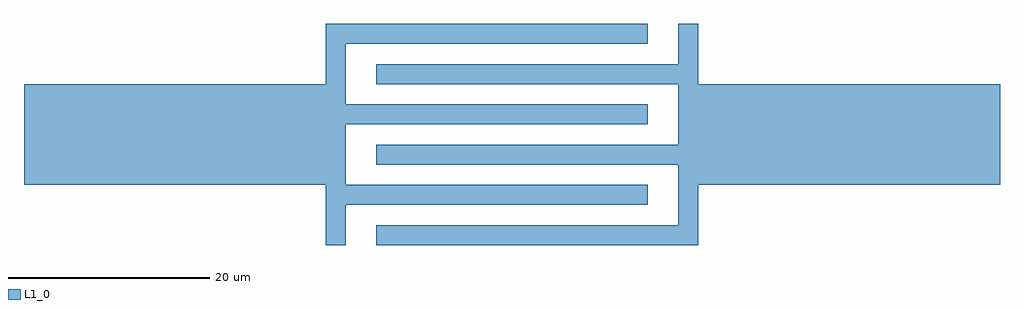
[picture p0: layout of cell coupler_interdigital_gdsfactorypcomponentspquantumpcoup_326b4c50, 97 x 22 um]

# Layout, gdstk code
import gdstk
lib = gdstk.Library(unit=1e-6, precision=1e-09)
def R(c, l, rs):  # rectangles x0, y0, x1, y1
    for r in rs: c.add(gdstk.rectangle(r[:2], r[2:], *l))
L1_0 = (1, 0)

rectangle_gdsfactorypcom = lib.new_cell('rectangle_gdsfactorypcomponentspshapesprectangle_S2_22__4f6a35e3')
R(rectangle_gdsfactorypcom, L1_0, [(0,0,2,22)])

c_rectangle_gdsfactorypcom = lib.new_cell('rectangle_gdsfactorypcomponentspshapesprectangle_S30_2__e4ad78e2')
R(c_rectangle_gdsfactorypcom, L1_0, [(0,0,30,2)])

c_rectangle_gdsfactorypcom_ = lib.new_cell('rectangle_gdsfactorypcomponentspshapesprectangle_S30_10_8e0991d1')
R(c_rectangle_gdsfactorypcom_, L1_0, [(0,0,30,10)])

coupler_interdigital_gds = lib.new_cell('coupler_interdigital_gdsfactorypcomponentspquantumpcoup_326b4c50')
coupler_interdigital_gds.add(gdstk.Reference(rectangle_gdsfactorypcom, (-18.5,-11)))
coupler_interdigital_gds.add(gdstk.Reference(rectangle_gdsfactorypcom, (16.5,-11)))
coupler_interdigital_gds.add(gdstk.Reference(c_rectangle_gdsfactorypcom, (-16.5,9)))
coupler_interdigital_gds.add(gdstk.Reference(c_rectangle_gdsfactorypcom, (-13.5,5)))
coupler_interdigital_gds.add(gdstk.Reference(c_rectangle_gdsfactorypcom, (-16.5,1)))
coupler_interdigital_gds.add(gdstk.Reference(c_rectangle_gdsfactorypcom, (-13.5,-3)))
coupler_interdigital_gds.add(gdstk.Reference(c_rectangle_gdsfactorypcom, (-16.5,-7)))
coupler_interdigital_gds.add(gdstk.Reference(c_rectangle_gdsfactorypcom, (-13.5,-11)))
coupler_interdigital_gds.add(gdstk.Reference(c_rectangle_gdsfactorypcom_, (-48.5,-5)))
coupler_interdigital_gds.add(gdstk.Reference(c_rectangle_gdsfactorypcom_, (18.5,-5)))

lib.write_gds('coupler_interdigital_gdsfactorypcomponentspquantumpcoup_326b4c50.gds')
